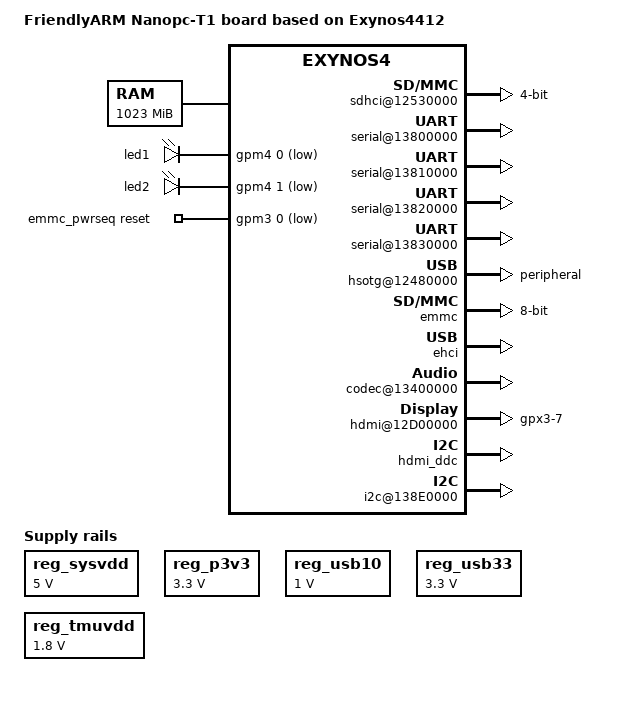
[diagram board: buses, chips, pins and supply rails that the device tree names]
/*
 * FriendlyARM's Exynos4412 based Nanocp-T1 board device tree source
 *
 * Copyright (c) 2013 Alex Ling <kasimling@gmail.com>
 *
 * Device tree source file for FriendlyARM's TINY4412 board which is based on
 * Samsung's Exynos4412 SoC.
 *
 * This program is free software; you can redistribute it and/or modify
 * it under the terms of the GNU General Public License version 2 as
 * published by the Free Software Foundation.
*/

/dts-v1/;
#include "exynos4412.dtsi"
#include <dt-bindings/sound/samsung-i2s.h>
#include <dt-bindings/input/input.h>

/ {
	model = "FriendlyARM Nanopc-T1 board based on Exynos4412";
	compatible = "friendlyarm,nanopct1", "samsung,exynos4412", "samsung,exynos4";

	chosen {
		stdout-path = &serial_0;
	};

	memory {
		reg = <0x40000000 0x3FF00000>;
	};
	
    reserved-memory {
		#address-cells = <1>;
		#size-cells = <1>;
		ranges;

		mfc_left: region@51000000 {
			compatible = "shared-dma-pool";
			no-map;
			reg = <0x51000000 0x800000>;
		};

		mfc_right: region@43000000 {
			compatible = "shared-dma-pool";
			no-map;
			reg = <0x43000000 0x800000>;
		};
	};

	firmware@0204F000 {
		compatible = "samsung,secure-firmware";
		reg = <0x0204F000 0x1000>;
	};

	leds {
		compatible = "gpio-leds";

		led1 {
			label = "led1";
			gpios = <&gpm4 0 1>;
			default-state = "off";
			linux,default-trigger = "heartbeat";
		};

		led2 {
			label = "led2";
			gpios = <&gpm4 1 1>;
			default-state = "off";
            linux,default-trigger = "mmc0";
		};
	};

    regulators {
		compatible = "simple-bus";
		#address-cells = <1>;
		#size-cells = <0>;

		reg_sysvdd: regulator@0 {
			compatible = "regulator-fixed";
			reg = <0x0>;
			regulator-name = "sysvdd";
			regulator-min-microvolt = <5000000>;
			regulator-max-microvolt = <5000000>;
			regulator-always-on;
			regulator-boot-on;
		};

		reg_p3v3: regulator@1 {
			compatible = "regulator-fixed";
			reg = <0x1>;
			regulator-name = "p3v3";
			regulator-min-microvolt = <3300000>;
			regulator-max-microvolt = <3300000>;
			enable-active-high;
			regulator-always-on;
			regulator-boot-on;
        };

        reg_usb10: usb10@2 {
			compatible = "regulator-fixed";
			reg = <0x2>;
			regulator-name = "vdd_otg_hsic_1.0V";
			regulator-min-microvolt = <1000000>;
			regulator-max-microvolt = <1000000>;
			regulator-always-on;
			regulator-boot-on;
		};

		reg_usb33: usb33@3 {
			compatible = "regulator-fixed";
			reg = <0x3>;
			regulator-name = "vdd_usb_otg_3.3V";
			regulator-min-microvolt = <3300000>;
			regulator-max-microvolt = <3300000>;
			enable-active-high;
			regulator-always-on;
			regulator-boot-on;
        };

        reg_tmuvdd: tmuvdd@4 {
			compatible = "regulator-fixed";
			reg = <0x4>;
			regulator-name = "vddq_tmu_1.8V";
			regulator-min-microvolt = <1800000>;
			regulator-max-microvolt = <1800000>;
			enable-active-high;
			regulator-always-on;
			regulator-boot-on;
        };
	};

	watchdog@10060000 {
		status = "okay";
	};

	rtc@10070000 {
		status = "okay";
	};

	sdhci@12530000 {
		bus-width = <4>;
		pinctrl-0 = <&sd2_clk &sd2_cmd &sd2_cd &sd2_bus4>;
		/* cd-gpios = <&gpk2 2 0>; Check schematic*/
		pinctrl-names = "default";
		status = "okay";
	};

	serial@13800000 {
		status = "okay";
	};

	serial@13810000 {
		status = "okay";
	};

	serial@13820000 {
		status = "okay";
	};

	serial@13830000 {
		status = "okay";
	};

    exynos-usbphy@125B0000 {
		status = "okay";
        phy-supply = <&reg_sysvdd>;
	};
	
    hsotg@12480000 {
		dr_mode = "peripheral";
		status = "okay";
		vusb_d-supply = <&reg_usb10>;
		vusb_a-supply = <&reg_usb33>;
	};

	emmc_pwrseq: pwrseq {
		pinctrl-0 = <&sd1_cd>;
		pinctrl-names = "default";
		compatible = "mmc-pwrseq-emmc";
		reset-gpios = <&gpm3 0 1>;
	};

	emmc: mmc@12550000 {
		pinctrl-0 = <&sd4_clk &sd4_cmd &sd4_bus4 &sd4_bus8>;
		pinctrl-names = "default";
		mmc-pwrseq = <&emmc_pwrseq>;
		status = "okay";

		num-slots = <1>;
		broken-cd;
		card-detect-delay = <200>;
		samsung,dw-mshc-ciu-div = <3>;
		samsung,dw-mshc-sdr-timing = <2 3>;
		samsung,dw-mshc-ddr-timing = <1 2>;
		bus-width = <8>;
		cap-mmc-highspeed;
	};

	ehci: ehci@12580000 {
		status = "okay";
	};

	tmu@100C0000 {
		status = "okay";
        vtmu-supply = <&reg_tmuvdd>;
	};

	thermal-zones {
		cpu_thermal: cpu-thermal {
			cooling-maps {
				map0 {
				     /* Corresponds to 800MHz at freq_table */
				     cooling-device = <&cpu0 7 7>;
				};
				map1 {
				     /* Corresponds to 200MHz at freq_table */
				     cooling-device = <&cpu0 13 13>;
			       };
		       };
		};
	};
    
    g2d@10800000 {
		status = "okay";
	};
    
    camera {
		status = "okay";
		pinctrl-names = "default";
		pinctrl-0 = <>;

		fimc_0: fimc@11800000 {
			status = "okay";
			assigned-clocks = <&clock CLK_MOUT_FIMC0>,
					<&clock CLK_SCLK_FIMC0>;
			assigned-clock-parents = <&clock CLK_MOUT_MPLL_USER_T>;
			assigned-clock-rates = <0>, <176000000>;
		};

		fimc_1: fimc@11810000 {
			status = "okay";
			assigned-clocks = <&clock CLK_MOUT_FIMC1>,
					<&clock CLK_SCLK_FIMC1>;
			assigned-clock-parents = <&clock CLK_MOUT_MPLL_USER_T>;
			assigned-clock-rates = <0>, <176000000>;
		};

		fimc_2: fimc@11820000 {
			status = "okay";
			assigned-clocks = <&clock CLK_MOUT_FIMC2>,
					<&clock CLK_SCLK_FIMC2>;
			assigned-clock-parents = <&clock CLK_MOUT_MPLL_USER_T>;
			assigned-clock-rates = <0>, <176000000>;
		};

		fimc_3: fimc@11830000 {
			status = "okay";
			assigned-clocks = <&clock CLK_MOUT_FIMC3>,
					<&clock CLK_SCLK_FIMC3>;
			assigned-clock-parents = <&clock CLK_MOUT_MPLL_USER_T>;
			assigned-clock-rates = <0>, <176000000>;
		};
	};

    mixer: mixer@12C10000 {
		status = "okay";
	};
    
    fimd@11c00000 {
		status = "okay";
    };

    codec@13400000 {
		status = "okay";
		memory-region = <&mfc_left>, <&mfc_right>;
		memory-region-names = "left", "right";
	};

	hdmi@12D00000 {
		hpd-gpio = <&gpx3 7 0>;
		pinctrl-names = "default";
		pinctrl-0 = <&hdmi_hpd>;
		vdd-supply = <&reg_sysvdd>;
		vdd_osc-supply = <&reg_sysvdd>;
		vdd_pll-supply = <&reg_sysvdd>;
        hdmi-en-supply = <&reg_sysvdd>;
		ddc = <&hdmi_ddc>;
		status = "okay";
	};
    
    cec@100B0000 {
		status = "okay";
	};

	hdmi_ddc: i2c@138D0000 {
		status = "okay";
		pinctrl-names = "default";
		pinctrl-0 = <&i2c7_bus>;
	};

	i2c@138E0000 {
		status = "okay";
	};
    
	hdmi_cec: hdmi-cec {
		samsung,pins = "gpx3-6";
		samsung,pin-function = <3>;
		samsung,pin-pud = <0>;
		samsung,pin-drv = <0>;
	};
    
	fixed-rate-clocks {
		xxti {
			compatible = "samsung,clock-xxti";
			clock-frequency = <0>;
		};

		xusbxti {
			compatible = "samsung,clock-xusbxti";
			clock-frequency = <24000000>;
		};
	};
};

&ehci {
	port@1 {
		status = "okay";
	};
};

&sd1_cd {
	samsung,pin-pud = <0>;
	samsung,pin-drv = <0>;
};

&pinctrl_1 {
	hdmi_hpd: hdmi-hpd {
		samsung,pins = "gpx3-7";
		samsung,pin-pud = <1>;
	};
};
